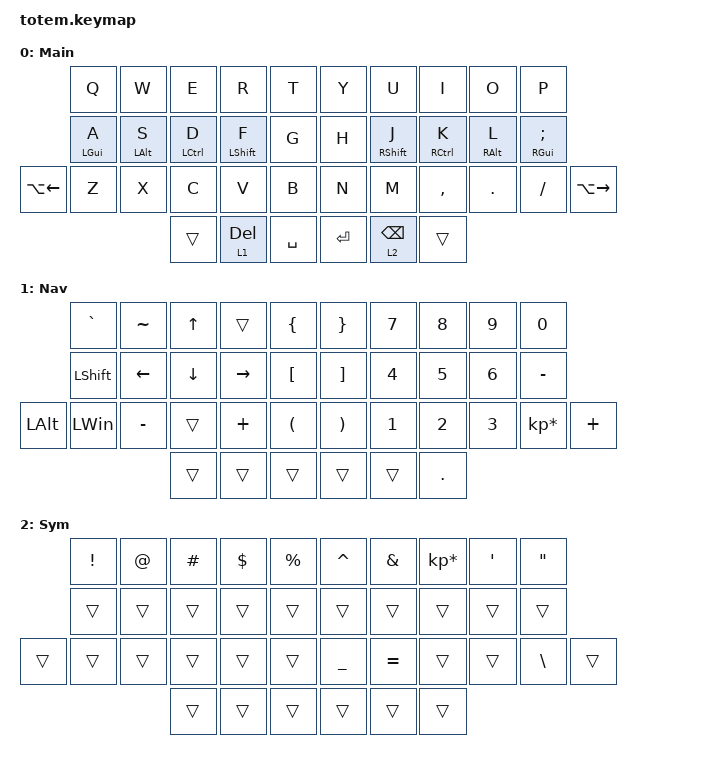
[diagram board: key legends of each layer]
//
//                                                        ▀▀▀▀▀     ▀▀▀▀▀          ▀▀█▀▀
//                                                        ▄▀▀▀▄  ▄  ▄▀▀▀▄  ▄  ▄▀▀▀▄  █  ▄▀▀▀▄
//                                                        █   █  █  █   █  █  █   █  █  █   █
//                                                         ▀▀▀   █   ▀▀▀   █   ▀▀▀   ▀   ▀▀▀
//                                                               █      ▄▄▄█▄▄▄    █   █  
//                                                               ▀      █  █  █     █▄█
//                                                             ▀▀▀▀▀    █  █  █      ▀
//                                                                      ▀  ▀  ▀
//
// ▄▄▄▄▄▄▄▄▄▄▄▄▄▄▄▄▄▄▄▄▄▄▄▄▄▄▄▄▄▄▄▄▄▄▄▄▄▄▄▄▄▄▄▄▄▄▄▄▄▄▄▄▄▄▄▄▄▄▄▄▄▄▄▄▄▄▄▄▄▄▄▄▄▄▄▄▄▄▄▄▄▄▄▄▄▄▄▄▄▄▄▄▄▄▄▄▄▄▄▄▄▄▄▄▄▄▄▄▄▄▄▄▄▄▄▄▄▄▄▄▄▄▄▄▄▄▄▄▄▄▄▄▄▄▄▄▄▄▄▄▄▄▄▄▄▄▄▄▄

#include <behaviors.dtsi>
#include <dt-bindings/zmk/keys.h>

#define Base        0
#define Nav         1
#define Sym         2
#define Fun         3
#define Game        4
#define Gameplus    5

&mt {
    quick-tap-ms = <100>;
    global-quick-tap;
    flavor = "tap-preferred";
    tapping-term-ms = <170>;
};

&lt {
    tapping-term-ms = <240>;
    flavor = "balanced";
    quick-tap-ms = <150>;
};

/ {
    behaviors {
        hm: homerow_mods {
            compatible = "zmk,behavior-hold-tap";
            label = "HOMEROW_MODS";
            #binding-cells = <2>;
            flavor = "tap-preferred";
            tapping-term-ms = <200>;
            quick-tap-ms = <125>;
            global-quick-tap;
            bindings = <&kp>, <&kp>;
        };
    };

    combos {
        compatible = "zmk,combos";

        mac_spotlight {
            bindings = <&kp LG(SPACE)>;
            key-positions = <11 12 13>;
        };

        Front {
            bindings = <&kp LC(A)>;
            key-positions = <1 0>;
        };

        End {
            bindings = <&kp LC(E)>;
            key-positions = <9 8>;
        };

        copy {
            bindings = <&kp LG(C)>;
            key-positions = <22 23>;
        };

        paste {
            bindings = <&kp LG(V)>;
            key-positions = <23 24>;
        };

        pastenoformat {
            bindings = <&kp LA(LS(LG(V)))>;
            key-positions = <23 24 25>;
        };

        escape {
            bindings = <&kp ESCAPE>;
            key-positions = <0 1 2 3>;
        };

        cut {
            bindings = <&kp LG(X)>;
            key-positions = <21 22 23>;
        };

        tab {
            bindings = <&kp TAB>;
            key-positions = <17 18 19>;
        };

        dash {
            bindings = <&kp MINUS>;
            key-positions = <18 19>;
        };
    };

    keymap {
        compatible = "zmk,keymap";

        Main {
            display-name = "Main";
            bindings = <
              &kp Q       &kp W       &kp E        &kp R         &kp T        &kp Y    &kp U        &kp I        &kp O       &kp P
              &hm LGUI A  &hm LALT S  &hm LCTRL D  &hm LSHIFT F  &kp G        &kp H    &hm RSHFT J  &hm RCTRL K  &hm RALT L  &hm RGUI SEMICOLON
&kp LA(LEFT)  &kp Z       &kp X       &kp C        &kp V         &kp B        &kp N    &kp M        &kp COMMA    &kp DOT     &kp SLASH           &kp LA(RIGHT)
                                      &trans       &lt 1 DEL     &kp SPACE    &kp RET  &lt 2 BSPC   &trans
            >;
        };

        Nav {
            display-name = "Nav";
            bindings = <
              &kp GRAVE       &kp TILDE  &kp UP_ARROW  &trans     &kp LBRC    &kp RBRC  &kp NUMBER_7  &kp NUMBER_8  &kp NUMBER_9  &kp NUMBER_0
              &kp LEFT_SHIFT  &kp LEFT   &kp DOWN      &kp RIGHT  &kp LBKT    &kp RBKT  &kp NUMBER_4  &kp NUMBER_5  &kp NUMBER_6  &kp MINUS
&kp LEFT_ALT  &kp LEFT_WIN    &kp MINUS  &trans        &kp PLUS   &kp LPAR    &kp RPAR  &kp NUMBER_1  &kp NUMBER_2  &kp NUMBER_3  &kp KP_MULTIPLY  &kp PLUS
                                         &trans        &trans     &trans      &trans    &trans        &kp DOT
            >;
        };

        Sym {
            display-name = "Sym";
            bindings = <
        &kp EXCL  &kp AT  &kp HASH  &kp DOLLAR  &kp PERCENT    &kp CARET  &kp AMPERSAND  &kp KP_ASTERISK  &kp SQT  &kp DQT
        &trans    &trans  &trans    &trans      &trans         &trans     &trans         &trans           &trans   &trans
&trans  &trans    &trans  &trans    &trans      &trans         &kp UNDER  &kp EQUAL      &trans           &trans   &kp BACKSLASH  &trans
                          &trans    &trans      &trans         &trans     &trans         &trans
            >;
        };
    };
};
